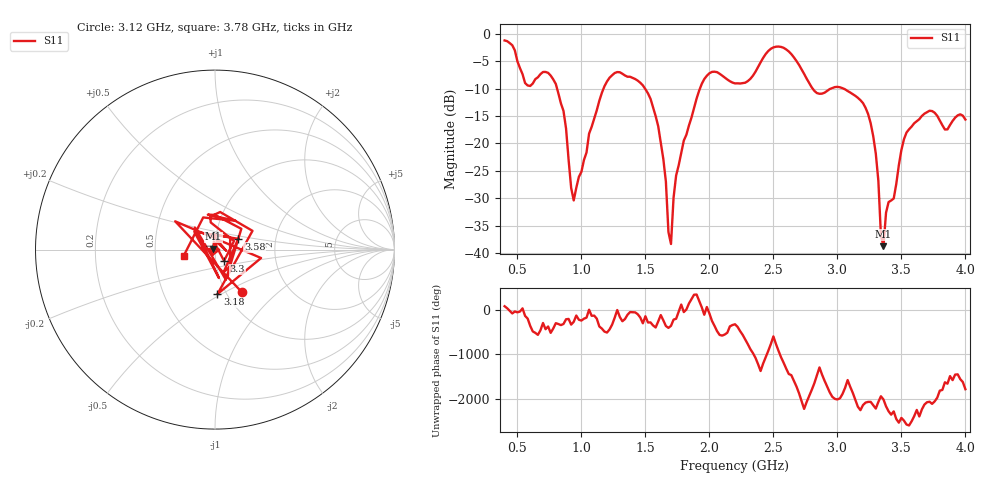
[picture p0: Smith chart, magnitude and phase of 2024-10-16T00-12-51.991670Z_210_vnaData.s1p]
! Created with skrf (http://scikit-rf.org).
# Hz S RI R 50.0
!freq ReS11 ImS11
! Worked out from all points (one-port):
!   181 points, 400 MHz to 4 GHz, reference 50 ohm
!   lowest |S11| = -38.7 dB at 3.36 GHz (marker M1), VSWR 1.02, Z = 49 + j0.517 ohm
!   |S11| at or under -10 dB: 810 MHz to 1.173 GHz (362.7 MHz wide, 36.6 % of centre); 1.497 GHz to 1.926 GHz (428.5 MHz wide, 25 % of centre); 3.048 GHz to end of sweep (the widest 3 of 4)
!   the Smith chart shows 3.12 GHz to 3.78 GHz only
!   S11 on the Smith chart (normalised r, x): 3.12 GHz: 1.18, -0.61; 3.18 GHz: 0.91, -0.48; 3.3 GHz: 1.10, -0.14; 3.58 GHz: 1.29, +0.16; 3.78 GHz: 0.70, -0.05
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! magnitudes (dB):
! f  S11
! 400 MHz  -1.2
! 580 MHz  -9.4
! 760 MHz  -7.6
! 860 MHz  -14.1
! 940 MHz  -30.4
! 1.16 GHz  -10.8
! 1.3 GHz  -7.0
! 1.56 GHz  -13.4
! 1.64 GHz  -22.8
! 1.7 GHz  -38.3
! 1.72 GHz  -29.9
! 1.76 GHz  -24.0
! 1.96 GHz  -8.2
! 2.2 GHz  -9.0
! 2.5 GHz  -2.5
! 2.66 GHz  -4.3
! 2.84 GHz  -10.8
! 3.1 GHz  -10.7
! 3.12 GHz  -11.0
! 3.18 GHz  -12.1
! 3.3 GHz  -21.9
! 3.34 GHz  -36.7
! 3.36 GHz  -38.7
! 3.38 GHz  -32.6
! 3.56 GHz  -17.4
! 3.58 GHz  -16.9
! 3.78 GHz  -15.0
! 4 GHz  -15.6
